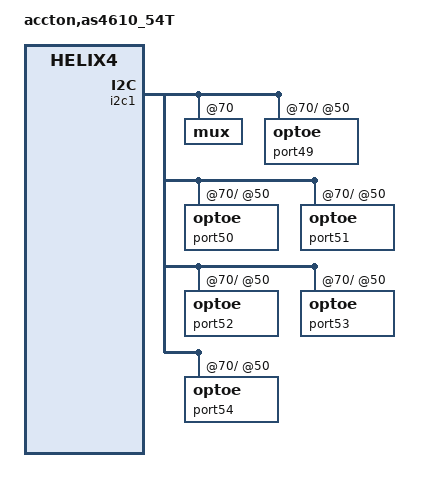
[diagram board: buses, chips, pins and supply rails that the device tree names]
/*
 * Accton AS4610 54 Device Tree Source
 *
 * Copyright 2015, Cumulus Networks, Inc.
 *
 * This program is free software; you can redistribute  it and/or modify it
 * under  the terms of  the GNU General  Public License as published by the
 * Free Software Foundation;  either version 2 of the  License, or (at your
 * option) any later version.
 *
 */
/dts-v1/;
#include "arm-accton-as4610.dtsi"

/ {
    model = "accton,as4610_54T";
    compatible = "accton,as4610_54T","brcm,helix4";
};

&i2c1 {
        mux@70 {
        // SFP+ 1
        i2c@0 {
            optoe@50 {
                label = "port49";
            };
        };

        // SFP+ 2
        i2c@1 {
            optoe@50 {
                label = "port50";
            };
        };

        // SFP+ 3
        i2c@2 {
            optoe@50 {
                label = "port51";
            };
        };

        // SFP+ 4
        i2c@3 {
            optoe@50 {
                label = "port52";
            };
        };

        // QSFP+ STK1
        i2c@4 {
            optoe@50 {
                label = "port53";
            };
        };

        // QSFP+ STK2
        i2c@5 {
            optoe@50 {
                label = "port54";
            };
        };
    };
};
